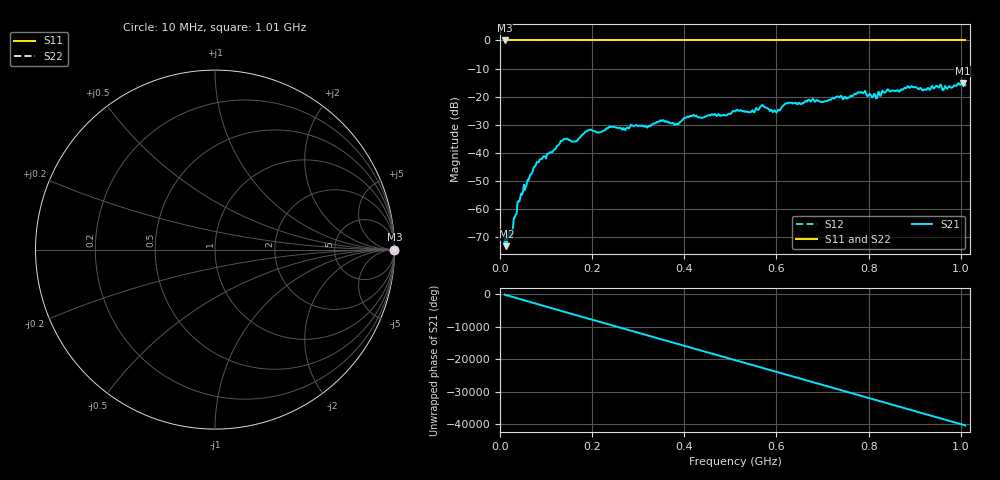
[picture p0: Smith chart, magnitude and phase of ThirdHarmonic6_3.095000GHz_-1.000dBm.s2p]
! 8/17/2025 9:06:57 AM
! C:\ANRITSUVNA\TEMP\TEMP.S2P
! CHANNEL.1
! TR.MEASUREMENT
! RAW.DATA
! RF.CORRECTION.OFF
! AVERAGING.OFF
! IF.BANDWIDTH: 5KHZ
! SWEEPTYPE:  FREQ.SWEEP(Linear)
! Reference Plane Port Info
! PORT:  PORT1  PORT2
! DISTANCE:  0  m  0  m
! TIME:  0  s  0  s
! PHASE.OFFSET:  0  deg.  0  deg.
! LOSS:  0  dB  0  dB
! REF.LOSS:  0  dB  0  dB
! REF.FREQ:  0  Hz  0  Hz
! Power Info
! POWER:  -20  dBm  -20  dBm
! EFF.POWER:  -20  dBm  -20  dBm
! SOURCE.ATTEN:  0  dB  0  dB
! TEST.ATTEN:  0  dB  0  dB
# GHZ S RI R 50.0
! FREQ.GHZ  S11RE  S11IM  S21RE  S21IM  S12RE  S12IM  S22RE  S22IM
!; PortSelection: Port_12
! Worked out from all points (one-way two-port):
!   501 points, 10 MHz to 1.01 GHz, reference 50 ohm
!   highest |S21| = -15.15 dB at 1.004 GHz (marker M1); lowest = -73.4 dB at 14 MHz (marker M2)
!   lowest |S11| = 0.0 dB at 10 MHz (marker M3)
!   |S11| at or under -10 dB: nowhere
!   |S22| runs from 0.0 to 0.0 dB; largest |S21 - S12| = 1.2
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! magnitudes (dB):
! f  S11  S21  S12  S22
! 10 MHz  0.0  -71.8  0.0  0.0
! 14 MHz  0.0  -73.4  0.0  0.0
! 26 MHz  0.0  -69.8  0.0  0.0
! 42 MHz  0.0  -57.5  0.0  0.0
! 78 MHz  0.0  -44.3  0.0  0.0
! 136 MHz  0.0  -35.7  0.0  0.0
! 164 MHz  0.0  -36.1  0.0  0.0
! 178 MHz  0.0  -33.7  0.0  0.0
! 344 MHz  0.0  -29.0  0.0  0.0
! 384 MHz  0.0  -29.8  0.0  0.0
! 416 MHz  0.0  -27.1  0.0  0.0
! 510 MHz  0.0  -25.3  0.0  0.0
! 548 MHz  0.0  -24.9  0.0  0.0
! 570 MHz  0.0  -23.0  0.0  0.0
! 596 MHz  0.0  -24.9  0.0  0.0
! 624 MHz  0.0  -22.4  0.0  0.0
! 678 MHz  0.0  -20.9  0.0  0.0
! 780 MHz  0.0  -18.7  0.0  0.0
! 814 MHz  0.0  -19.4  0.0  0.0
! 844 MHz  0.0  -17.8  0.0  0.0
! 1.004 GHz  0.0  -15.1  0.0  0.0
! 1.01 GHz  0.0  -15.9  0.0  0.0
